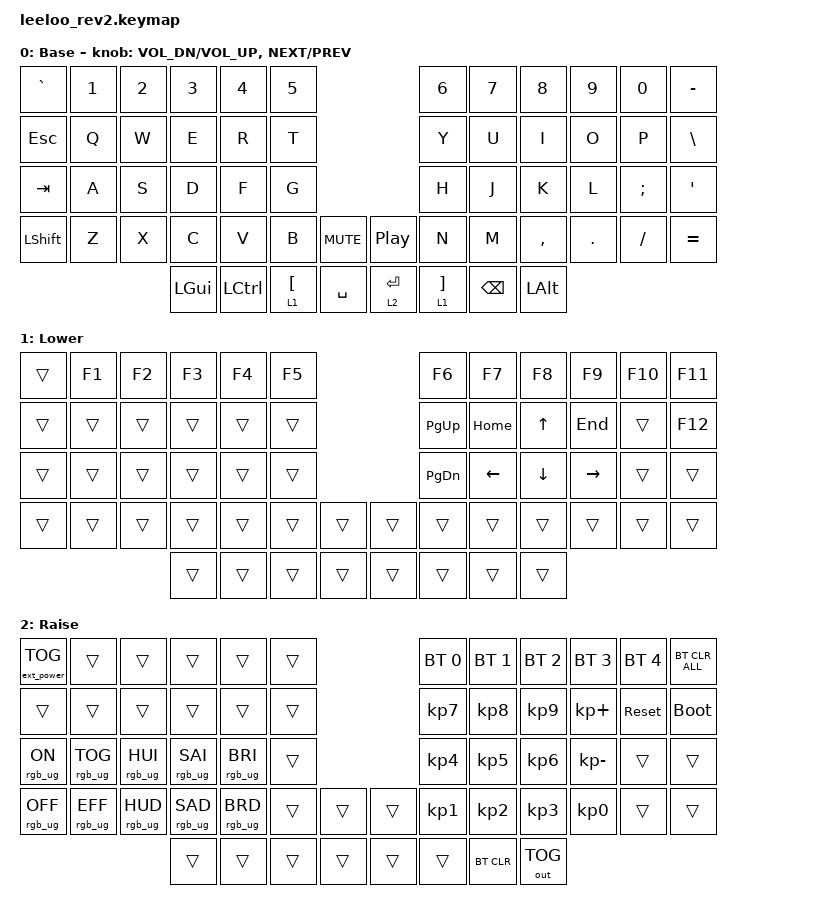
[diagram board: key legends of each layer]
#include <behaviors.dtsi>
#include <dt-bindings/zmk/outputs.h>
#include <dt-bindings/zmk/keys.h>
#include <dt-bindings/zmk/bt.h>
#include <dt-bindings/zmk/rgb.h>
#include <dt-bindings/zmk/ext_power.h>

// Layers
#define DEFAULT    0       // default_layer
#define LOWER      1       // lower_layer
#define RAISE      2       // raise_layer

// Short versions
#define RGBON   &rgb_ug RGB_ON
#define RGBOFF  &rgb_ug RGB_OFF
#define RGBTOG  &rgb_ug RGB_TOG
#define RGBHUI  &rgb_ug RGB_HUI
#define RGBHUD  &rgb_ug RGB_HUD
#define RGBSAI  &rgb_ug RGB_SAI
#define RGBSAD  &rgb_ug RGB_SAD
#define RGBBRI  &rgb_ug RGB_BRI
#define RGBBRD  &rgb_ug RGB_BRD
#define RGBEFF  &rgb_ug RGB_EFF
#define USBTOG  &out OUT_TOG
#define EXTPOW  &ext_power EP_TOG


/* 
 * Assign the cs-gpios pin to 4.
 * Uncomment these next three lines if implementing nice!view Displays
 */
nice_view_spi: &spi0 {
	cs-gpios = <&pro_micro 4 GPIO_ACTIVE_HIGH>;
};

&left_encoder { steps = <60>; };
&right_encoder { steps = <60>; };

/ {

    keymap {
        compatible = "zmk,keymap";

        default_layer {
            label = " Base";
            bindings = <
&kp GRAV   &kp N1     &kp N2     &kp N3     &kp N4     &kp N5                           &kp N6     &kp N7     &kp N8     &kp N9     &kp N0     &kp MINUS
&kp ESC    &kp Q      &kp W      &kp E      &kp R      &kp T                            &kp Y      &kp U      &kp I      &kp O      &kp P      &kp BSLH
&kp TAB    &kp A      &kp S      &kp D      &kp F      &kp G                            &kp H      &kp J      &kp K      &kp L      &kp SEMI   &kp SQT
&kp LSHIFT &kp Z      &kp X      &kp C      &kp V      &kp B   &kp C_MUTE    &kp C_PP   &kp N      &kp M      &kp COMMA  &kp DOT    &kp FSLH   &kp EQUAL
                             &kp LGUI &kp LCTRL  &lt 1 LBKT  &kp SPACE     &lt 2 RET  &lt 1 RBKT &kp BSPC   &kp LALT
            >;

            sensor-bindings = <&inc_dec_kp C_VOL_DN C_VOL_UP &inc_dec_kp C_NEXT C_PREV>;
        };

        lower_layer {
            label = " Lower";
            bindings = <
&trans     &kp F1     &kp F2     &kp F3     &kp F4     &kp F5                           &kp F6     &kp F7     &kp F8     &kp F9     &kp F10    &kp F11
&trans     &trans     &trans     &trans     &trans     &trans                           &kp PG_UP  &kp HOME   &kp UP     &kp END    &trans     &kp F12
&trans     &trans     &trans     &trans     &trans     &trans                           &kp PG_DN  &kp LEFT   &kp DOWN   &kp RIGHT  &trans     &trans
&trans     &trans     &trans     &trans     &trans     &trans     &trans     &trans     &trans     &trans     &trans     &trans     &trans     &trans
                                 &trans     &trans     &trans     &trans     &trans     &trans     &trans     &trans
            >;
        };

        raise_layer {
            label = " Raise";
            bindings = <
EXTPOW     &trans     &trans     &trans     &trans     &trans                           &bt BT_SEL 0  &bt BT_SEL 1  &bt BT_SEL 2  &bt BT_SEL 3  &bt BT_SEL 4  &bt BT_CLR_ALL
&trans     &trans     &trans     &trans     &trans     &trans                           &kp KP_N7     &kp KP_N8     &kp KP_N9     &kp KP_PLUS   &sys_reset    &bootloader
RGBON      RGBTOG     RGBHUI     RGBSAI     RGBBRI     &trans                           &kp KP_N4     &kp KP_N5     &kp KP_N6     &kp KP_MINUS  &trans        &trans
RGBOFF     RGBEFF     RGBHUD     RGBSAD     RGBBRD     &trans     &trans     &trans     &kp KP_N1     &kp KP_N2     &kp KP_N3     &kp KP_N0     &trans        &trans
                                 &trans     &trans     &trans     &trans     &trans     &trans        &bt BT_CLR    USBTOG
            >;
        };

    };
};
